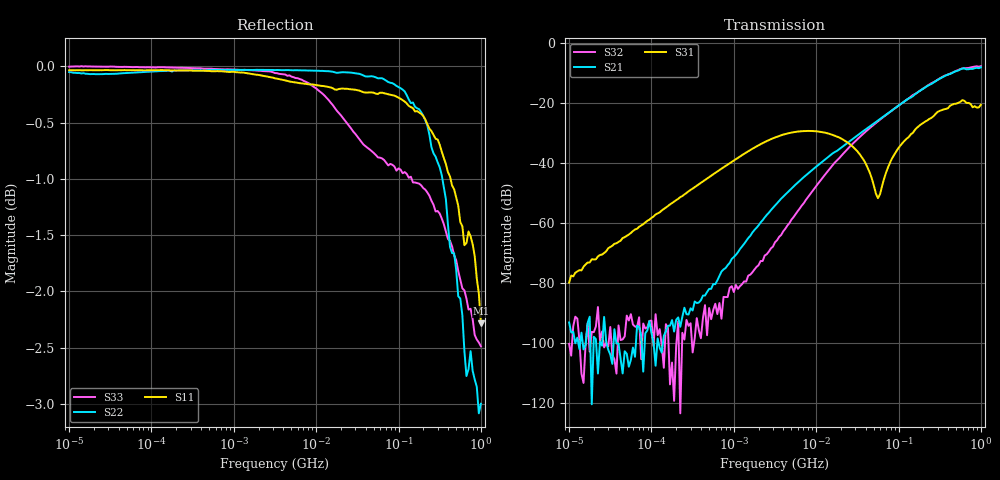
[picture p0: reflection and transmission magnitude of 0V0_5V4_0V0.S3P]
!Keysight Technologies,E5080A,MY55100144,A.11.70.03
!Date: Monday, November 13, 2017 17:25:36
!Correction: S11(Full 3 Port(1,2,3))
!S12(Full 3 Port(1,2,3))
!S13(Full 3 Port(1,2,3))
!S21(Full 3 Port(1,2,3))
!S22(Full 3 Port(1,2,3))
!S23(Full 3 Port(1,2,3))
!S31(Full 3 Port(1,2,3))
!S32(Full 3 Port(1,2,3))
!S33(Full 3 Port(1,2,3))
!S3P File: Measurements: <S11,S12,S13>,
!<S21,S22,S23>,
!<S31,S32,S33>:Log Frequency Sweep
# Hz S  RI  R 50
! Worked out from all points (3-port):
!   201 points, 10 kHz to 1 GHz, reference 50 ohm
!   strongest paths, dB at 10 kHz, 177.8 kHz, 3.162 MHz, 56.23 MHz, 1 GHz:
!     S31: -79.8, -53.2, -31.4, -51.6, -20.5
!     S21: -93.0, -92.2, -54.1, -25.7, -8.0
!     S32: -100.2, -106.4, -66.3, -26.0, -7.6
!   lowest |S11| = -2.3 dB at 1 GHz (marker M1), VSWR 7.65, Z = 382 + j0.378 ohm
!   |S11| at or under -10 dB: nowhere
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10000  0.9961 -0.0056  7.04e-06 5.15e-06  2.37e-06 0.000123
       2.15e-05 5.94e-06  0.4708 -0.8758  -5.02e-06 -1.75e-05
       2.13e-05 0.000101  -7.22e-06 -6.65e-06  0.9998 -0.0025
50118.72  0.9957 -0.0278  3.75e-05 8.36e-06  3.06e-06 0.000603
          -6.65e-06 -8.33e-07  -0.7915 -0.6001  1.7e-05 -1.53e-07
          2.07e-05 0.000619  -2.76e-05 9.05e-06  0.9996 -0.00562
595662.1  0.9428 -0.3184  -8.4e-05 8.03e-05  0.00156 0.00676
          -8.55e-05 4.59e-05  -0.995 -0.054  -1.44e-05 3.77e-05
          0.00158 0.00677  -2.69e-05 3.7e-05  0.9957 -0.0573
3162278  0.131 -0.9792  -0.00134 0.00145  0.0207 0.0174
         -0.00132 0.00147  -0.9963 0.00465  -0.00041 0.000239
         0.0209 0.0172  -0.000424 0.000235  0.9503 -0.2891
2.113489e7  -0.9414 -0.2636  -0.00125 0.0192  0.02 -0.0149
            -0.00122 0.0192  -0.9893 0.098  -0.00855 0.0115
            0.02 -0.015  -0.00856 0.0115  -0.018 -0.9486
5.623413e7  -0.9708 0.053  0.00884 0.0511  0.00264 0.000281
            0.00891 0.0511  -0.9535 0.2587  -0.00536 0.05
            0.00261 0.000275  -0.00537 0.0499  -0.7612 -0.5008
1.059254e8  -0.9333 0.2549  0.0375 0.0894  0.00782 0.0185
            0.0376 0.0895  -0.8607 0.4643  0.023 0.0945
            0.00776 0.0185  0.023 0.0945  -0.8952 -0.091
3.758374e8  -0.3695 0.8262  0.2899 0.0335  0.0807 -0.00587
            0.2902 0.0334  0.0973 0.8675  0.29 0.0576
            0.0807 -0.0059  0.2897 0.0578  -0.4867 0.6902
7.079458e8  0.4639 0.7058  0.1991 -0.3127  0.0112 -0.1009
            0.1991 -0.3132  0.6979 0.2262  0.2452 -0.3027
            0.0114 -0.1013  0.2454 -0.3026  0.2562 0.7364
1e9  0.7687 0.000202  -0.0998 -0.3851  -0.0567 -0.0755
     -0.1006 -0.3853  0.5909 -0.3902  -0.0463 -0.4144
     -0.0572 -0.0753  -0.0459 -0.4148  0.6828 0.3125
